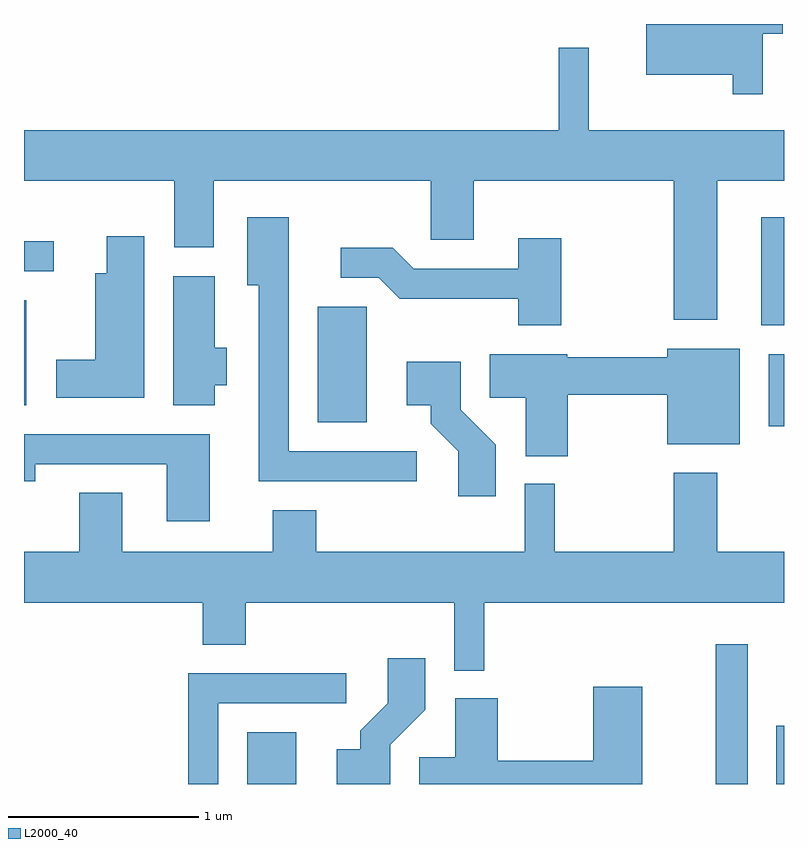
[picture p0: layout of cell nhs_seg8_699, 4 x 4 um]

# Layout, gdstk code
import gdstk
lib = gdstk.Library(unit=1e-6, precision=1e-09)
def R(c, l, rs):  # rectangles x0, y0, x1, y1
    for r in rs: c.add(gdstk.rectangle(r[:2], r[2:], *l))
def P(c, l, *ps):  # polygons
    for p in ps: c.add(gdstk.Polygon(p, *l))
L2000_40 = (2000, 40)

nhs_seg8_699 = lib.new_cell('nhs_seg8_699')
R(nhs_seg8_699, L2000_40, [(206.786,1844.342,207.044,1844.614), (209.251,1844.342,209.419,1845.078), (209.571,1844.342,209.611,1844.649), (209.531,1846.226,209.611,1846.604), (207.156,1846.246,207.414,1846.854), (205.611,1846.336,205.624,1846.889), (209.491,1846.756,209.611,1847.324), (205.611,1847.041,205.768,1847.199)])
P(nhs_seg8_699, L2000_40, [(209.499,1848.291),(209.604,1848.291),(209.604,1848.342),(208.886,1848.342),(208.886,1848.076),(209.341,1848.076),(209.341,1847.973),(209.499,1847.973)],
  [(209.259,1847.516),(209.611,1847.516),(209.611,1847.784),(208.584,1847.784),(208.584,1848.218),(208.426,1848.218),(208.426,1847.784),(205.611,1847.784),(205.611,1847.516),(206.401,1847.516),(206.401,1847.166),(206.609,1847.166),(206.609,1847.516),(207.751,1847.516),(207.751,1847.206),(207.979,1847.206),(207.979,1847.516),(209.031,1847.516),(209.031,1846.786),(209.259,1846.786)],
  [(207.678,1846.094),(207.004,1846.094),(207.004,1847.324),(206.786,1847.324),(206.786,1846.966),(206.846,1846.966),(206.846,1845.936),(207.678,1845.936)],
  [(206.244,1847.224),(206.046,1847.224),(206.046,1847.029),(205.986,1847.029),(205.986,1846.574),(205.781,1846.574),(205.781,1846.376),(206.244,1846.376)],
  [(208.439,1847.214),(208.211,1847.214),(208.211,1847.054),(207.662,1847.054),(207.552,1847.164),(207.278,1847.164),(207.278,1847.006),(207.479,1847.006),(207.589,1846.896),(208.211,1846.896),(208.211,1846.756),(208.439,1846.756)],
  [(206.614,1846.441),(206.679,1846.441),(206.679,1846.639),(206.614,1846.639),(206.614,1847.014),(206.396,1847.014),(206.396,1846.336),(206.614,1846.336)],
  [(208.474,1846.391),(208.996,1846.391),(208.996,1846.131),(209.379,1846.131),(209.379,1846.634),(208.996,1846.634),(208.996,1846.589),(208.47,1846.589),(208.47,1846.604),(208.061,1846.604),(208.061,1846.376),(208.251,1846.376),(208.251,1846.066),(208.474,1846.066)],
  [(208.094,1846.127),(207.909,1846.312),(207.909,1846.564),(207.626,1846.564),(207.626,1846.336),(207.751,1846.336),(207.751,1846.239),(207.896,1846.094),(207.896,1845.856),(208.094,1845.856)],
  [(206.589,1846.184),(205.611,1846.184),(205.611,1845.936),(205.669,1845.936),(205.669,1846.026),(206.361,1846.026),(206.361,1845.726),(206.589,1845.726)],
  [(208.034,1845.296),(209.611,1845.296),(209.611,1845.564),(209.259,1845.564),(209.259,1845.979),(209.031,1845.979),(209.031,1845.564),(208.404,1845.564),(208.404,1845.923),(208.246,1845.923),(208.246,1845.564),(207.149,1845.564),(207.149,1845.784),(206.921,1845.784),(206.921,1845.564),(206.129,1845.564),(206.129,1845.874),(205.901,1845.874),(205.901,1845.564),(205.611,1845.564),(205.611,1845.296),(206.551,1845.296),(206.551,1845.076),(206.779,1845.076),(206.779,1845.296),(207.876,1845.296),(207.876,1844.938),(208.034,1844.938)],
  [(207.539,1844.549),(207.724,1844.734),(207.724,1845.004),(207.526,1845.004),(207.526,1844.767),(207.381,1844.622),(207.381,1844.524),(207.256,1844.524),(207.256,1844.342),(207.539,1844.342)],
  [(206.634,1844.766),(207.308,1844.766),(207.308,1844.924),(206.476,1844.924),(206.476,1844.342),(206.634,1844.342)],
  [(208.864,1844.854),(208.606,1844.854),(208.606,1844.464),(208.104,1844.464),(208.104,1844.794),(207.881,1844.794),(207.881,1844.484),(207.691,1844.484),(207.691,1844.342),(208.864,1844.342)])

lib.write_gds('nhs_seg8_699.gds')
